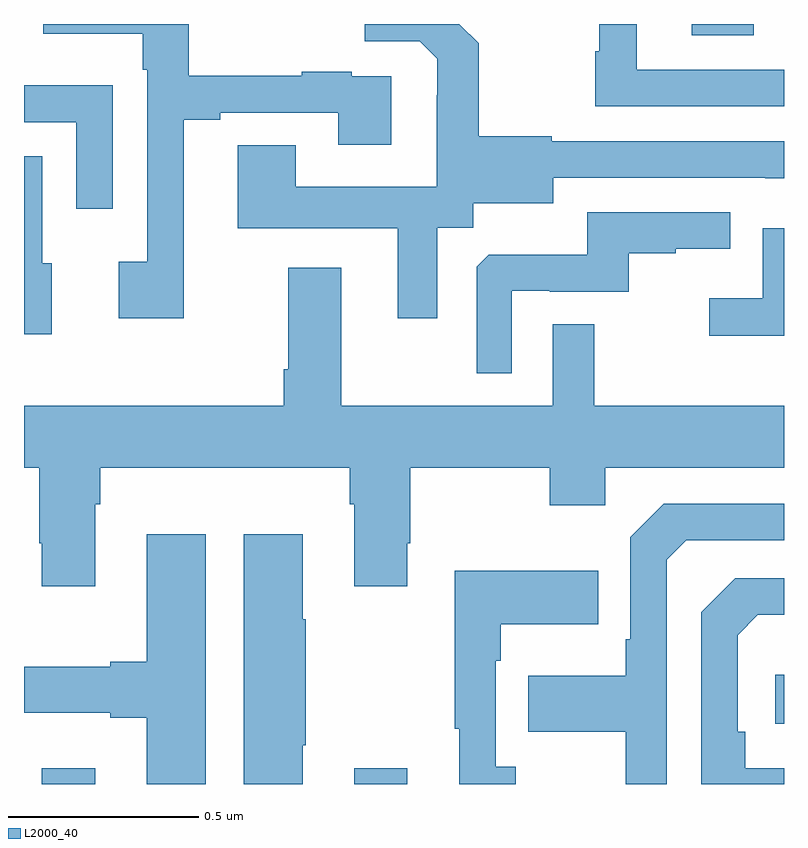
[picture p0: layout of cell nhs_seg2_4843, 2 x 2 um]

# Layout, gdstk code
import gdstk
lib = gdstk.Library(unit=1e-6, precision=1e-09)
def R(c, l, rs):  # rectangles x0, y0, x1, y1
    for r in rs: c.add(gdstk.rectangle(r[:2], r[2:], *l))
def P(c, l, *ps):  # polygons
    for p in ps: c.add(gdstk.Polygon(p, *l))
L2000_40 = (2000, 40)

nhs_seg2_4843 = lib.new_cell('nhs_seg2_4843')
R(nhs_seg2_4843, L2000_40, [(171.047,650.8,171.187,650.842), (171.869,650.8,172.009,650.842), (172.977,650.958,173,651.088), (172.757,652.77,172.921,652.8)])
P(nhs_seg2_4843, L2000_40, [(171.421,652.548),(171.517,652.548),(171.517,652.566),(171.827,652.566),(171.827,652.482),(171.967,652.482),(171.967,652.662),(171.863,652.662),(171.863,652.675),(171.731,652.675),(171.731,652.664),(171.433,652.664),(171.433,652.8),(171.051,652.8),(171.051,652.775),(171.312,652.775),(171.312,652.679),(171.324,652.679),(171.324,652.174),(171.249,652.174),(171.249,652.026),(171.421,652.026)],
  [(173,652.68),(172.612,652.68),(172.612,652.8),(172.514,652.8),(172.514,652.728),(172.503,652.728),(172.503,652.584),(173,652.584)],
  [(172.087,652.264),(172.182,652.264),(172.182,652.328),(172.393,652.328),(172.393,652.395),(172.951,652.395),(172.951,652.394),(173,652.394),(173,652.491),(172.389,652.491),(172.389,652.504),(172.197,652.504),(172.197,652.749),(172.146,652.8),(171.897,652.8),(171.897,652.755),(172.041,652.755),(172.088,652.708),(172.088,652.613),(172.086,652.613),(172.086,652.372),(171.715,652.372),(171.715,652.481),(171.563,652.481),(171.563,652.262),(171.983,652.262),(171.983,652.026),(172.087,652.026)],
  [(171.234,652.639),(171,652.639),(171,652.542),(171.138,652.542),(171.138,652.314),(171.234,652.314)],
  [(171.073,652.17),(171.048,652.17),(171.048,652.452),(171,652.452),(171,651.983),(171.073,651.983)],
  [(172.284,652.098),(172.384,652.098),(172.384,652.095),(172.592,652.095),(172.592,652.197),(172.715,652.197),(172.715,652.208),(172.859,652.208),(172.859,652.305),(172.482,652.305),(172.482,652.193),(172.223,652.193),(172.191,652.161),(172.191,651.881),(172.284,651.881)],
  [(173,652.263),(172.944,652.263),(172.944,652.078),(172.803,652.078),(172.803,651.98),(173,651.98)],
  [(171.187,651.536),(171.2,651.536),(171.2,651.632),(171.857,651.632),(171.857,651.536),(171.869,651.536),(171.869,651.321),(172.009,651.321),(172.009,651.433),(172.017,651.433),(172.017,651.632),(172.384,651.632),(172.384,651.533),(172.53,651.533),(172.53,651.632),(173,651.632),(173,651.796),(172.501,651.796),(172.501,652.01),(172.392,652.01),(172.392,651.796),(171.835,651.796),(171.835,652.159),(171.695,652.159),(171.695,651.892),(171.683,651.892),(171.683,651.796),(171,651.796),(171,651.632),(171.04,651.632),(171.04,651.433),(171.047,651.433),(171.047,651.321),(171.187,651.321)],
  [(172.692,651.39),(172.743,651.441),(173,651.441),(173,651.537),(172.683,651.537),(172.596,651.45),(172.596,651.181),(172.584,651.181),(172.584,651.085),(172.327,651.085),(172.327,650.938),(172.584,650.938),(172.584,650.8),(172.692,650.8)],
  [(171.733,650.902),(171.741,650.902),(171.741,651.233),(171.733,651.233),(171.733,651.457),(171.578,651.457),(171.578,650.8),(171.733,650.8)],
  [(171.478,651.457),(171.323,651.457),(171.323,651.122),(171.227,651.122),(171.227,651.109),(171,651.109),(171,650.987),(171.227,650.987),(171.227,650.975),(171.323,650.975),(171.323,650.8),(171.478,650.8)],
  [(172.294,650.846),(172.242,650.846),(172.242,651.125),(172.255,651.125),(172.255,651.221),(172.511,651.221),(172.511,651.361),(172.134,651.361),(172.134,650.945),(172.145,650.945),(172.145,650.8),(172.294,650.8)],
  [(173,650.841),(172.898,650.841),(172.898,650.938),(172.878,650.938),(172.878,651.192),(172.931,651.245),(173,651.245),(173,651.342),(172.872,651.342),(172.782,651.252),(172.782,650.8),(173,650.8)])

lib.write_gds('nhs_seg2_4843.gds')
